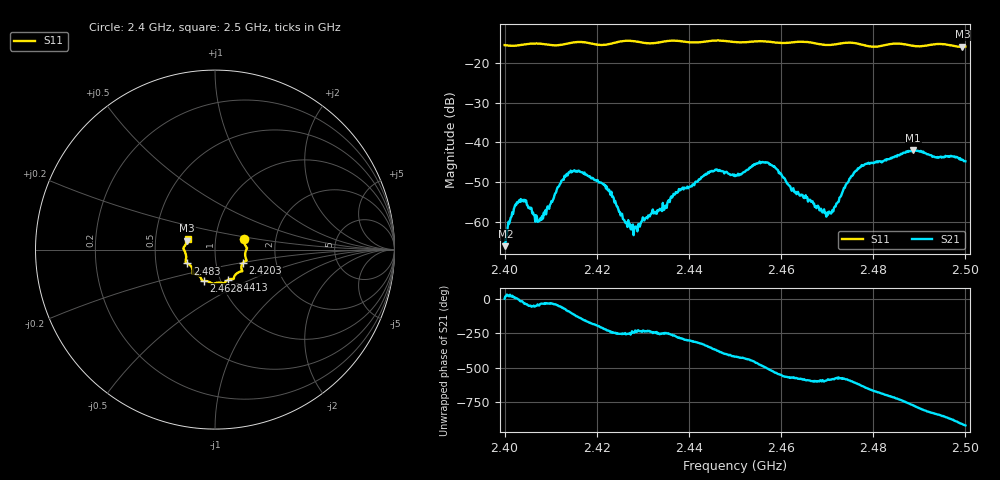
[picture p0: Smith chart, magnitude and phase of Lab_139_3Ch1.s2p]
# Hz S RI R 50
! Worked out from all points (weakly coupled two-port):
!   601 points, 2.4 GHz to 2.5 GHz, reference 50 ohm
!   highest |S21| = -41.87 dB at 2.4887 GHz (marker M1); lowest = -66.2 dB at 2.4002 GHz (marker M2)
!   lowest |S11| = -15.8 dB at 2.4993 GHz (marker M3), VSWR 1.39, Z = 36.5 + j3.71 ohm
!   |S11| at or under -10 dB: start of sweep to end of sweep
!   S12 and S22 are empty: the file has one direction only
!   S11 on the Smith chart (normalised r, x): 2.4 GHz: 1.37, +0.16; 2.4203 GHz: 1.35, -0.21; 2.4413 GHz: 1.09, -0.38; 2.4628 GHz: 0.83, -0.30; 2.483 GHz: 0.72, -0.11; 2.5 GHz: 0.73, +0.09
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2.4e9  0.1606 0.0569  0.000531 2.97e-05  0 0  0 0
2.400167e9  0.1608 0.0553  0.000456 0.000174  0 0  0 0
2.403e9  0.167 0.0256  0.00177 -3.2e-05  0 0  0 0
2.407667e9  0.1777 0.00556  0.000823 -0.000625  0 0  0 0
2.4135e9  0.1712 -0.0471  0.000492 -0.00398  0 0  0 0
2.416667e9  0.1761 -0.0615  -0.00333 -0.00257  0 0  0 0
2.420333e9  0.1553 -0.074  -0.00305 0.000924  0 0  0 0
2.4275e9  0.15 -0.1211  -0.000318 0.000726  0 0  0 0
2.433333e9  0.1081 -0.1485  -0.000535 0.00125  0 0  0 0
2.441333e9  0.0743 -0.168  0.00209 0.00232  0 0  0 0
2.445667e9  0.0508 -0.1881  0.00444 -0.000719  0 0  0 0
2.45e9  0.0294 -0.1837  0.00189 -0.00324  0 0  0 0
2.456833e9  -0.0159 -0.1888  -0.00449 -0.00336  0 0  0 0
2.462833e9  -0.0631 -0.1747  -0.00202 0.00127  0 0  0 0
2.466667e9  -0.0742 -0.1675  -0.000923 0.00155  0 0  0 0
2.470333e9  -0.0953 -0.1418  -0.000877 0.000999  0 0  0 0
2.476333e9  -0.1249 -0.1287  -0.00112 0.00426  0 0  0 0
2.483e9  -0.1547 -0.0769  0.00586 0.00187  0 0  0 0
2.483333e9  -0.1569 -0.0759  0.00596 0.00148  0 0  0 0
2.488667e9  -0.1607 -0.0449  0.00446 -0.00672  0 0  0 0
2.499333e9  -0.1544 0.0495  -0.00591 0.00138  0 0  0 0
2.5e9  -0.1526 0.0584  -0.00532 0.00226  0 0  0 0
